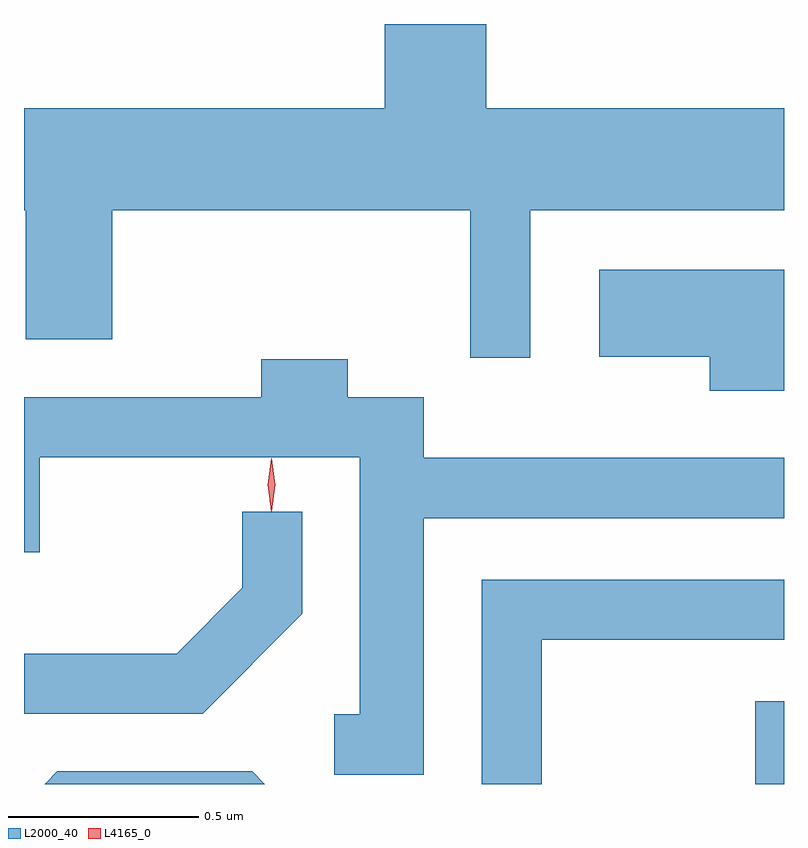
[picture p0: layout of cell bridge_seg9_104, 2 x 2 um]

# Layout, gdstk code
import gdstk
lib = gdstk.Library(unit=1e-6, precision=1e-09)
def R(c, l, rs):  # rectangles x0, y0, x1, y1
    for r in rs: c.add(gdstk.rectangle(r[:2], r[2:], *l))
def P(c, l, *ps):  # polygons
    for p in ps: c.add(gdstk.Polygon(p, *l))
L2000_40 = (2000, 40)
L4165_0 = (4165, 0)

bridge_seg9_104 = lib.new_cell('bridge_seg9_104')
R(bridge_seg9_104, L2000_40, [(1774.491,1994.746,1774.567,1994.964)])
P(bridge_seg9_104, L2000_40, [(1773.784,1996.746),(1773.516,1996.746),(1773.516,1996.524),(1772.567,1996.524),(1772.567,1996.256),(1772.571,1996.256),(1772.571,1995.916),(1772.799,1995.916),(1772.799,1996.256),(1773.741,1996.256),(1773.741,1995.868),(1773.899,1995.868),(1773.899,1996.256),(1774.567,1996.256),(1774.567,1996.524),(1773.784,1996.524)],
  [(1774.567,1996.099),(1774.081,1996.099),(1774.081,1995.871),(1774.371,1995.871),(1774.371,1995.781),(1774.567,1995.781)],
  [(1773.619,1995.446),(1774.567,1995.446),(1774.567,1995.604),(1773.619,1995.604),(1773.619,1995.764),(1773.419,1995.764),(1773.419,1995.864),(1773.191,1995.864),(1773.191,1995.764),(1772.567,1995.764),(1772.567,1995.356),(1772.609,1995.356),(1772.609,1995.606),(1773.451,1995.606),(1773.451,1994.929),(1773.383,1994.929),(1773.383,1994.771),(1773.619,1994.771)],
  [(1773.299,1995.194),(1773.299,1995.463),(1773.141,1995.463),(1773.141,1995.262),(1772.969,1995.089),(1772.567,1995.089),(1772.567,1994.931),(1773.037,1994.931)],
  [(1773.929,1995.126),(1774.567,1995.126),(1774.567,1995.284),(1773.771,1995.284),(1773.771,1994.746),(1773.929,1994.746)],
  [(1773.167,1994.779),(1772.654,1994.779),(1772.621,1994.746),(1773.2,1994.746)])
P(bridge_seg9_104, L4165_0, [(1773.218,1995.463),(1773.218,1995.464),(1773.208,1995.533),(1773.218,1995.602),(1773.218,1995.603),(1773.219,1995.602),(1773.228,1995.533),(1773.219,1995.464)])

lib.write_gds('bridge_seg9_104.gds')
